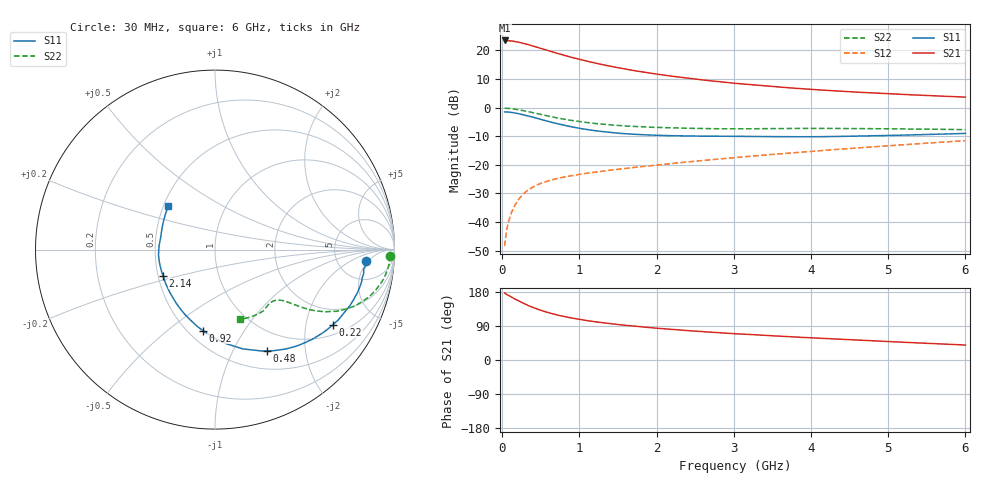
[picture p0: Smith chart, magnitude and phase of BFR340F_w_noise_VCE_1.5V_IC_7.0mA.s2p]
! Infineon Technologies  Discrete & RF Semiconductors
! BFR340F
! VCE =  1.5 V,  IC =  7.0 mA
! Common Emitter S-Parameters:  Nov 2015
# GHz  S  MA  R  50
!  f  S11  S21  S12  S22
! GHz  MAG  ANG  MAG  ANG  MAG  ANG  MAG  ANG
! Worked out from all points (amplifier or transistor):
!   206 points, 30 MHz to 6 GHz, reference 50 ohm
!   highest |S21| = 23.5 dB at 30 MHz (marker M1)
!   |S21| within 3 dB of that: start of sweep to 526.7 MHz
!   unconditionally stable (mu >= 1): 2.081 GHz to 5.569 GHz
!   at 200 MHz: K = 0.17, MSG = 27.7 dB, |S12| = -32.5 dB
!   at 1.56 GHz: K = 0.89, MSG = 17.5 dB, |S12| = -21.3 dB
!   at 6 GHz: K = 0.98, MSG = 7.6 dB, |S12| = -11.5 dB
!   lowest NFmin = 1.25 dB at 450 MHz
!   S11 on the Smith chart (normalised r, x): 30 MHz: 10, -4; 220 MHz: 1.35, -2.87; 480 MHz: 0.73, -1.37; 920 MHz: 0.59, -0.67; 2.14 GHz: 0.53, -0.17; 6 GHz: 0.53, +0.29
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0.03  0.8429 -4.5  14.92 176.8  0.0038 87.0  0.9767 -2.0
0.05  0.8354 -7.6  14.82 173.6  0.0063 85.9  0.9749 -3.6
0.07  0.835 -11.0  14.87 171.4  0.0087 85.0  0.9726 -5.1
0.135  0.8193 -20.4  14.52 164.3  0.0165 79.8  0.9536 -9.7
0.22  0.779 -32.4  13.82 155.0  0.0258 73.9  0.9145 -15.1
0.3  0.7372 -42.7  13.01 147.0  0.0334 69.4  0.871 -19.4
0.34  0.7138 -47.6  12.57 143.4  0.0367 67.4  0.8476 -21.3
0.4  0.6802 -54.5  11.91 138.4  0.0412 64.8  0.8128 -23.7
0.48  0.6341 -62.9  11.04 132.5  0.0464 62.2  0.7682 -26.3
0.6  0.5741 -74.4  9.856 124.7  0.0528 59.1  0.7077 -29.3
0.7  0.5298 -82.8  8.98 119.3  0.0574 57.5  0.6644 -31.0
0.8  0.493 -90.4  8.21 114.7  0.0613 56.5  0.628 -32.3
0.92  0.4561 -98.7  7.433 110.0  0.0656 55.8  0.5915 -33.3
1.04  0.4263 -106.3  6.768 105.9  0.0696 55.6  0.5618 -34.1
1.2  0.3962 -115.6  6.022 100.9  0.0747 55.8  0.5295 -34.9
1.4  0.3693 -125.7  5.281 95.8  0.0808 56.4  0.4996 -35.8
2.02  0.3282 -149.8  3.823 83.6  0.1 59.2  0.4505 -38.6
2.14  0.3246 -153.6  3.63 81.7  0.1039 59.7  0.4454 -39.3
3.1  0.3148 -176.4  2.603 68.5  0.1373 63.1  0.427 -45.8
4.1  0.3106 166.3  2.043 57.6  0.1763 64.9  0.4342 -52.4
5.1  0.3285 150.6  1.725 47.7  0.2202 65.0  0.4259 -61.2
6  0.3548 137.2  1.527 39.5  0.2653 63.9  0.4129 -70.2
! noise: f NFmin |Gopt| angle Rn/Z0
0.45  1.25  0.38  2  0.3
0.9  1.27  0.38  11  0.33
1.9  1.54  0.25  11  0.31
2.4  1.69  0.21  23  0.3
